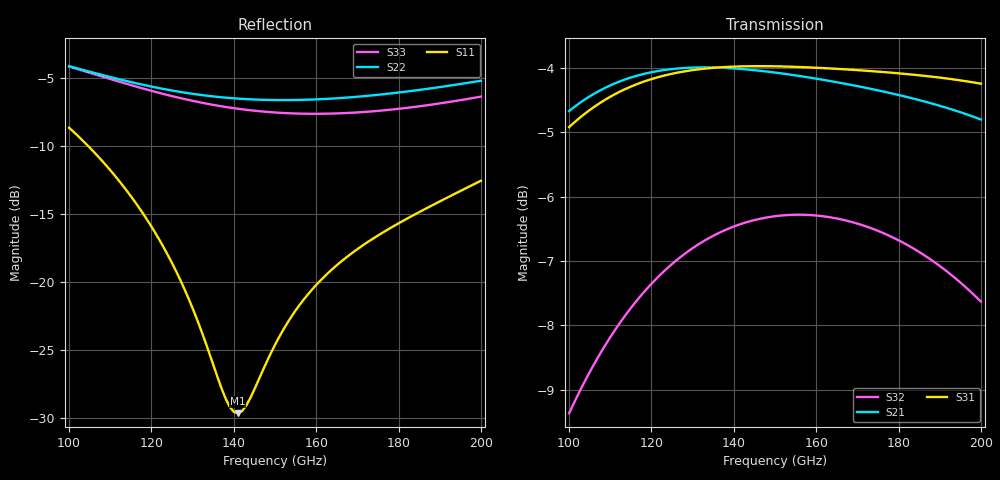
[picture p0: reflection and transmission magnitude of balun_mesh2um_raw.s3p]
#  GHZ S DB R 50.0
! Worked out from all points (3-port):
!   101 points, 100 GHz to 200 GHz, reference 50 ohm
!   strongest paths, dB at 100 GHz, 125 GHz, 150 GHz, 175 GHz, 200 GHz:
!     S31: -4.9, -4.1, -4.0, -4.1, -4.2
!     S21: -4.7, -4.0, -4.1, -4.3, -4.8
!     S32: -9.4, -7.0, -6.3, -6.5, -7.6
!   lowest |S11| = -29.6 dB at 141 GHz (marker M1), VSWR 1.07, Z = 47 + j1.11 ohm
!   |S11| at or under -10 dB: 104.7 GHz to end of sweep
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100  -8.64 125.0  -4.67 -14.7  -4.92 161.5
     -4.67 -14.7  -4.11 58.9  -9.37 89.3
     -4.92 161.5  -9.37 89.3  -4.13 48.8
121  -16.41 102.0  -4.05 -47.1  -4.15 127.1
     -4.05 -47.1  -5.67 41.3  -7.29 57.8
     -4.15 127.1  -7.29 57.8  -6.00 28.0
129  -21.19 102.1  -3.99 -58.3  -4.04 115.1
     -3.99 -58.3  -6.10 35.7  -6.84 46.6
     -4.04 115.1  -6.84 46.6  -6.59 21.5
138  -28.55 132.4  -4.00 -70.4  -3.98 102.3
     -4.00 -70.4  -6.42 29.7  -6.51 34.6
     -3.98 102.3  -6.51 34.6  -7.11 14.9
141  -29.64 159.0  -4.01 -74.3  -3.97 98.1
     -4.01 -74.3  -6.49 27.8  -6.44 30.7
     -3.97 98.1  -6.44 30.7  -7.24 12.8
150  -24.61 -153.9  -4.07 -85.7  -3.97 86.0
     -4.07 -85.7  -6.60 21.7  -6.30 19.3
     -3.97 86.0  -6.30 19.3  -7.51 6.4
157  -21.26 -147.3  -4.13 -94.3  -3.98 76.8
     -4.13 -94.3  -6.58 16.8  -6.28 10.7
     -3.98 76.8  -6.28 10.7  -7.60 1.5
167  -18.25 -146.6  -4.24 -106.4  -4.02 63.9
     -4.24 -106.4  -6.43 9.2  -6.37 -1.5
     -4.02 63.9  -6.37 -1.5  -7.56 -6.0
184  -15.01 -150.0  -4.48 -126.7  -4.10 42.3
     -4.48 -126.7  -5.89 -5.3  -6.82 -21.8
     -4.10 42.3  -6.82 -21.8  -7.10 -20.0
200  -12.53 -155.4  -4.80 -146.2  -4.24 21.7
     -4.80 -146.2  -5.18 -20.8  -7.63 -41.3
     -4.24 21.7  -7.63 -41.3  -6.35 -35.1
